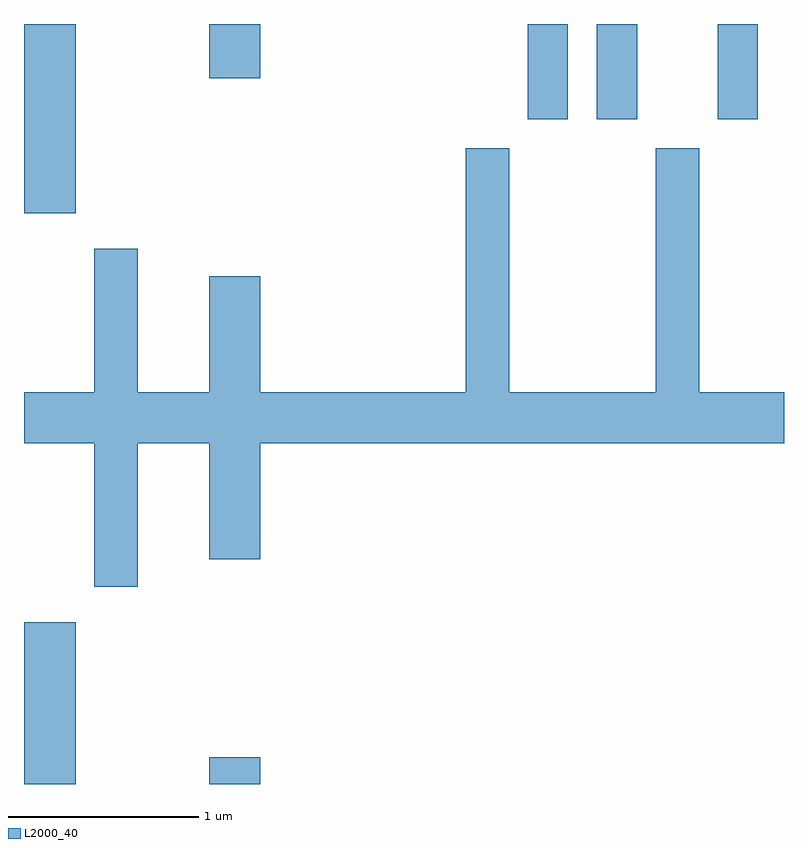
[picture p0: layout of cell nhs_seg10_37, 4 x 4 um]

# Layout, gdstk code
import gdstk
lib = gdstk.Library(unit=1e-6, precision=1e-09)
def R(c, l, rs):  # rectangles x0, y0, x1, y1
    for r in rs: c.add(gdstk.rectangle(r[:2], r[2:], *l))
def P(c, l, *ps):  # polygons
    for p in ps: c.add(gdstk.Polygon(p, *l))
L2000_40 = (2000, 40)

nhs_seg10_37 = lib.new_cell('nhs_seg10_37')
R(nhs_seg10_37, L2000_40, [(185.611,2156.522,185.884,2157.374), (186.586,2156.522,186.854,2156.664), (185.611,2159.526,185.884,2160.522), (188.261,2160.021,188.474,2160.522), (188.626,2160.021,188.839,2160.522), (189.261,2160.021,189.474,2160.522), (186.586,2160.236,186.854,2160.522)])
P(nhs_seg10_37, L2000_40, [(186.209,2158.316),(186.586,2158.316),(186.586,2157.706),(186.854,2157.706),(186.854,2158.316),(189.611,2158.316),(189.611,2158.584),(189.164,2158.584),(189.164,2159.869),(188.936,2159.869),(188.936,2158.584),(188.164,2158.584),(188.164,2159.869),(187.936,2159.869),(187.936,2158.584),(186.854,2158.584),(186.854,2159.194),(186.586,2159.194),(186.586,2158.584),(186.209,2158.584),(186.209,2159.339),(185.981,2159.339),(185.981,2158.584),(185.611,2158.584),(185.611,2158.316),(185.981,2158.316),(185.981,2157.561),(186.209,2157.561)])

lib.write_gds('nhs_seg10_37.gds')
